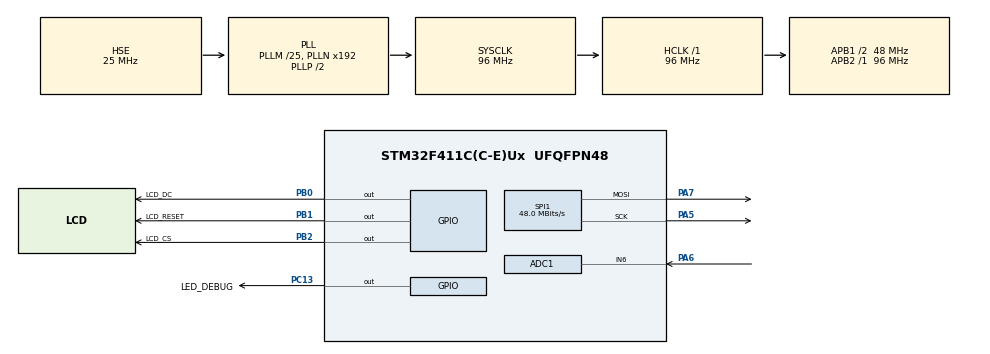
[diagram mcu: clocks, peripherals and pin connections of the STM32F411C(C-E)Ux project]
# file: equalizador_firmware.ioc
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ADC1.Channel-1\#ChannelRegularConversion=ADC_CHANNEL_6
ADC1.DMAContinuousRequests=ENABLE
ADC1.ExternalTrigConv=ADC_EXTERNALTRIGCONV_T2_TRGO
ADC1.NbrOfConversion=1
ADC1.NbrOfConversionFlag=1
ADC1.Rank-1\#ChannelRegularConversion=1
ADC1.SamplingTime-1\#ChannelRegularConversion=ADC_SAMPLETIME_3CYCLES
ADC1.master=1
Dma.ADC1.0.Direction=DMA_PERIPH_TO_MEMORY
Dma.ADC1.0.FIFOMode=DMA_FIFOMODE_DISABLE
Dma.ADC1.0.Instance=DMA2_Stream0
Dma.ADC1.0.MemDataAlignment=DMA_MDATAALIGN_HALFWORD
Dma.ADC1.0.MemInc=DMA_MINC_ENABLE
Dma.ADC1.0.Mode=DMA_NORMAL
Dma.ADC1.0.PeriphDataAlignment=DMA_PDATAALIGN_HALFWORD
Dma.ADC1.0.PeriphInc=DMA_PINC_DISABLE
Dma.ADC1.0.Priority=DMA_PRIORITY_LOW
Dma.Request0=ADC1
FREERTOS.Tasks01=defaultTask,0,128,StartDefaultTask,Default,NULL,Dynamic,NULL,NULL
FREERTOS.configENABLE_FPU=1
FREERTOS.configUSE_NEWLIB_REENTRANT=1
Mcu.Family=STM32F4
Mcu.Name=STM32F411C(C-E)Ux
Mcu.Package=UFQFPN48
NVIC.DMA2_Stream0_IRQn=true\:5\:0\:false\:false\:true\:true\:false\:true\:true
NVIC.PriorityGroup=NVIC_PRIORITYGROUP_4
NVIC.TIM1_BRK_TIM9_IRQn=true\:15\:0\:false\:false\:true\:false\:false\:true\:true
NVIC.TimeBase=TIM1_BRK_TIM9_IRQn
NVIC.TimeBaseIP=TIM9
PA5.Mode=TX_Only_Simplex_Unidirect_Master
PA5.Signal=SPI1_SCK
PA6.Signal=ADCx_IN6
PA7.Mode=TX_Only_Simplex_Unidirect_Master
PA7.Signal=SPI1_MOSI
PB0.GPIO_Label=LCD_DC
PB0.Signal=GPIO_Output
PB1.GPIO_Label=LCD_RESET
PB1.Signal=GPIO_Output
PB2.GPIO_Label=LCD_CS
PB2.Signal=GPIO_Output
PC13-ANTI_TAMP.GPIO_Label=LED_DEBUG
PC13-ANTI_TAMP.Signal=GPIO_Output
PH0\ -\ OSC_IN.Mode=HSE-External-Oscillator
PH0\ -\ OSC_IN.Signal=RCC_OSC_IN
PH1\ -\ OSC_OUT.Mode=HSE-External-Oscillator
PH1\ -\ OSC_OUT.Signal=RCC_OSC_OUT
ProjectManager.HeapSize=0x200
ProjectManager.StackSize=0x400
ProjectManager.TargetToolchain=STM32CubeIDE
RCC.48MHZClocksFreq_Value=48000000
RCC.AHBFreq_Value=96000000
RCC.APB1CLKDivider=RCC_HCLK_DIV2
RCC.APB1Freq_Value=48000000
RCC.APB1TimFreq_Value=96000000
RCC.APB2Freq_Value=96000000
RCC.APB2TimFreq_Value=96000000
RCC.CortexFreq_Value=96000000
RCC.HCLKFreq_Value=96000000
RCC.HSE_VALUE=25000000
RCC.HSI_VALUE=16000000
RCC.LSE_VALUE=32768
RCC.PLLM=25
RCC.PLLSourceVirtual=RCC_PLLSOURCE_HSE
RCC.SYSCLKFreq_VALUE=96000000
RCC.SYSCLKSource=RCC_SYSCLKSOURCE_PLLCLK
RCC.VCOOutputFreq_Value=192000000
SH.ADCx_IN6.0=ADC1_IN6,IN6
SPI1.CalculateBaudRate=48.0 MBits/s
SPI1.Direction=SPI_DIRECTION_2LINES
SPI1.Mode=SPI_MODE_MASTER
SPI1.VirtualType=VM_MASTER
STMicroelectronics.X-CUBE-ALGOBUILD.1.5.0.LibraryCcDSPOoLibraryJjDSPOoLibrary=true
TIM2.Period=1999
TIM2.TIM_MasterOutputTrigger=TIM_TRGO_UPDATE
VP_FREERTOS_VS_CMSIS_V1.Mode=CMSIS_V1
VP_STMicroelectronics.X-CUBE-ALGOBUILD_VS_DSPOoLibraryJjLibrary_1.5.0_1.5.0.Mode=DSPOoLibraryJjLibrary
VP_SYS_VS_tim9.Mode=TIM9
VP_TIM2_VS_ClockSourceINT.Mode=Internal
board=custom

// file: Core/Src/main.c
/* USER CODE BEGIN Header */
/**
  ******************************************************************************
  * @file           : main.c
  * @brief          : Main program body
  ******************************************************************************
  * @attention
  *
  * Copyright (c) 2026 STMicroelectronics.
  * All rights reserved.
  *
  * This software is licensed under terms that can be found in the LICENSE file
  * in the root directory of this software component.
  * If no LICENSE file comes with this software, it is provided AS-IS.
  *
  ******************************************************************************
  */
/* USER CODE END Header */
#include "main.h"
#include "cmsis_os.h"

/* USER CODE BEGIN Includes */
#include "display.h"
#include "fft.h"
/* USER CODE END Includes */

/* USER CODE BEGIN PD */
#define ADC_BUFFER_SIZE 1024
/* USER CODE END PD */

ADC_HandleTypeDef hadc1;
DMA_HandleTypeDef hdma_adc1;

SPI_HandleTypeDef hspi1;

TIM_HandleTypeDef htim2;

osThreadId defaultTaskHandle;
/* USER CODE BEGIN PV */

uint16_t adc_buffer[ADC_BUFFER_SIZE];

volatile uint8_t adc_ready = 0;
volatile uint8_t fft_data_ready = 0;

/* USER CODE END PV */

void SystemClock_Config(void);
static void MX_GPIO_Init(void);
static void MX_DMA_Init(void);
static void MX_SPI1_Init(void);
static void MX_ADC1_Init(void);
static void MX_TIM2_Init(void);
void StartDefaultTask(void const * argument);

/* USER CODE BEGIN 0 */

void fftTask(void *pvParameter)
{
    FFT_Init();

    HAL_ADC_Start_DMA(&hadc1, (uint32_t *)adc_buffer, ADC_BUFFER_SIZE);
    HAL_TIM_Base_Start(&htim2);

    while (1)
    {
        if (adc_ready)
        {
            adc_ready = 0;

            HAL_TIM_Base_Stop(&htim2);
            HAL_ADC_Stop_DMA(&hadc1);

            FFT_Process(adc_buffer);

            fft_data_ready = 1;
        }

        osDelay(1);
    }
}

void displayTask(void *pvParameter)
{
    Display_Init();

    while (1)
    {
        if (fft_data_ready)
        {
            fft_data_ready = 0;

            Display_Update();

            HAL_ADC_Start_DMA(&hadc1, (uint32_t *)adc_buffer, ADC_BUFFER_SIZE);
            HAL_TIM_Base_Start(&htim2);
        }

        osDelay(1);
    }
}
/* USER CODE END 0 */

int main(void)
{

  /* MCU Configuration--------------------------------------------------------*/

  /* Reset of all peripherals, Initializes the Flash interface and the Systick. */
  HAL_Init();

  /* Configure the system clock */
  SystemClock_Config();

  /* Initialize all configured peripherals */
  MX_GPIO_Init();
  MX_DMA_Init();
  MX_SPI1_Init();
  MX_ADC1_Init();
  MX_TIM2_Init();
  /* USER CODE BEGIN 2 */
  xTaskCreate(fftTask, "fft", 256, NULL, 2, NULL);
  xTaskCreate(displayTask, "display", 256, NULL, 1, NULL);
  /* USER CODE END 2 */

  /* Create the thread(s) */
  /* definition and creation of defaultTask */
  osThreadDef(defaultTask, StartDefaultTask, osPriorityNormal, 0, 128);
  defaultTaskHandle = osThreadCreate(osThread(defaultTask), NULL);

  /* Start scheduler */
  osKernelStart();

  /* We should never get here as control is now taken by the scheduler */

  /* Infinite loop */
  while (1)
  {

  }
}

void SystemClock_Config(void)
{
  RCC_OscInitTypeDef RCC_OscInitStruct = {0};
  RCC_ClkInitTypeDef RCC_ClkInitStruct = {0};

  /** Configure the main internal regulator output voltage
  */
  __HAL_RCC_PWR_CLK_ENABLE();
  __HAL_PWR_VOLTAGESCALING_CONFIG(PWR_REGULATOR_VOLTAGE_SCALE1);

  /** Initializes the RCC Oscillators according to the specified parameters
  * in the RCC_OscInitTypeDef structure.
  */
  RCC_OscInitStruct.OscillatorType = RCC_OSCILLATORTYPE_HSE;
  RCC_OscInitStruct.HSEState = RCC_HSE_ON;
  RCC_OscInitStruct.PLL.PLLState = RCC_PLL_ON;
  RCC_OscInitStruct.PLL.PLLSource = RCC_PLLSOURCE_HSE;
  RCC_OscInitStruct.PLL.PLLM = 25;
  RCC_OscInitStruct.PLL.PLLN = 192;
  RCC_OscInitStruct.PLL.PLLP = RCC_PLLP_DIV2;
  RCC_OscInitStruct.PLL.PLLQ = 4;
  if (HAL_RCC_OscConfig(&RCC_OscInitStruct) != HAL_OK)
  {
    Error_Handler();
  }

  /** Initializes the CPU, AHB and APB buses clocks
  */
  RCC_ClkInitStruct.ClockType = RCC_CLOCKTYPE_HCLK|RCC_CLOCKTYPE_SYSCLK
                              |RCC_CLOCKTYPE_PCLK1|RCC_CLOCKTYPE_PCLK2;
  RCC_ClkInitStruct.SYSCLKSource = RCC_SYSCLKSOURCE_PLLCLK;
  RCC_ClkInitStruct.AHBCLKDivider = RCC_SYSCLK_DIV1;
  RCC_ClkInitStruct.APB1CLKDivider = RCC_HCLK_DIV2;
  RCC_ClkInitStruct.APB2CLKDivider = RCC_HCLK_DIV1;

  if (HAL_RCC_ClockConfig(&RCC_ClkInitStruct, FLASH_LATENCY_3) != HAL_OK)
  {
    Error_Handler();
  }
}

static void MX_ADC1_Init(void)
{

  ADC_ChannelConfTypeDef sConfig = {0};

  /** Configure the global features of the ADC (Clock, Resolution, Data Alignment and number of conversion)
  */
  hadc1.Instance = ADC1;
  hadc1.Init.ClockPrescaler = ADC_CLOCK_SYNC_PCLK_DIV4;
  hadc1.Init.Resolution = ADC_RESOLUTION_12B;
  hadc1.Init.ScanConvMode = DISABLE;
  hadc1.Init.ContinuousConvMode = DISABLE;
  hadc1.Init.DiscontinuousConvMode = DISABLE;
  hadc1.Init.ExternalTrigConvEdge = ADC_EXTERNALTRIGCONVEDGE_RISING;
  hadc1.Init.ExternalTrigConv = ADC_EXTERNALTRIGCONV_T2_TRGO;
  hadc1.Init.DataAlign = ADC_DATAALIGN_RIGHT;
  hadc1.Init.NbrOfConversion = 1;
  hadc1.Init.DMAContinuousRequests = ENABLE;
  hadc1.Init.EOCSelection = ADC_EOC_SINGLE_CONV;
  if (HAL_ADC_Init(&hadc1) != HAL_OK)
  {
    Error_Handler();
  }

  /** Configure for the selected ADC regular channel its corresponding rank in the sequencer and its sample time.
  */
  sConfig.Channel = ADC_CHANNEL_6;
  sConfig.Rank = 1;
  sConfig.SamplingTime = ADC_SAMPLETIME_3CYCLES;
  if (HAL_ADC_ConfigChannel(&hadc1, &sConfig) != HAL_OK)
  {
    Error_Handler();
  }

}

static void MX_SPI1_Init(void)
{

  /* SPI1 parameter configuration*/
  hspi1.Instance = SPI1;
  hspi1.Init.Mode = SPI_MODE_MASTER;
  hspi1.Init.Direction = SPI_DIRECTION_2LINES;
  hspi1.Init.DataSize = SPI_DATASIZE_8BIT;
  hspi1.Init.CLKPolarity = SPI_POLARITY_LOW;
  hspi1.Init.CLKPhase = SPI_PHASE_1EDGE;
  hspi1.Init.NSS = SPI_NSS_SOFT;
  hspi1.Init.BaudRatePrescaler = SPI_BAUDRATEPRESCALER_2;
  hspi1.Init.FirstBit = SPI_FIRSTBIT_MSB;
  hspi1.Init.TIMode = SPI_TIMODE_DISABLE;
  hspi1.Init.CRCCalculation = SPI_CRCCALCULATION_DISABLE;
  hspi1.Init.CRCPolynomial = 10;
  if (HAL_SPI_Init(&hspi1) != HAL_OK)
  {
    Error_Handler();
  }

}

static void MX_TIM2_Init(void)
{

  TIM_ClockConfigTypeDef sClockSourceConfig = {0};
  TIM_MasterConfigTypeDef sMasterConfig = {0};

  htim2.Instance = TIM2;
  htim2.Init.Prescaler = 0;
  htim2.Init.CounterMode = TIM_COUNTERMODE_UP;
  htim2.Init.Period = 1999;
  htim2.Init.ClockDivision = TIM_CLOCKDIVISION_DIV1;
  htim2.Init.AutoReloadPreload = TIM_AUTORELOAD_PRELOAD_DISABLE;
  if (HAL_TIM_Base_Init(&htim2) != HAL_OK)
  {
    Error_Handler();
  }
  sClockSourceConfig.ClockSource = TIM_CLOCKSOURCE_INTERNAL;
  if (HAL_TIM_ConfigClockSource(&htim2, &sClockSourceConfig) != HAL_OK)
  {
    Error_Handler();
  }
  sMasterConfig.MasterOutputTrigger = TIM_TRGO_UPDATE;
  sMasterConfig.MasterSlaveMode = TIM_MASTERSLAVEMODE_DISABLE;
  if (HAL_TIMEx_MasterConfigSynchronization(&htim2, &sMasterConfig) != HAL_OK)
  {
    Error_Handler();
  }

}

static void MX_DMA_Init(void)
{

  /* DMA controller clock enable */
  __HAL_RCC_DMA2_CLK_ENABLE();

  /* DMA interrupt init */
  /* DMA2_Stream0_IRQn interrupt configuration */
  HAL_NVIC_SetPriority(DMA2_Stream0_IRQn, 5, 0);
  HAL_NVIC_EnableIRQ(DMA2_Stream0_IRQn);

}

static void MX_GPIO_Init(void)
{
  GPIO_InitTypeDef GPIO_InitStruct = {0};

  /* GPIO Ports Clock Enable */
  __HAL_RCC_GPIOC_CLK_ENABLE();
  __HAL_RCC_GPIOH_CLK_ENABLE();
  __HAL_RCC_GPIOA_CLK_ENABLE();
  __HAL_RCC_GPIOB_CLK_ENABLE();

  /*Configure GPIO pin Output Level */
  HAL_GPIO_WritePin(LED_DEBUG_GPIO_Port, LED_DEBUG_Pin, GPIO_PIN_RESET);

  /*Configure GPIO pin Output Level */
  HAL_GPIO_WritePin(GPIOB, LCD_DC_Pin|LCD_RESET_Pin|LCD_CS_Pin, GPIO_PIN_RESET);

  /*Configure GPIO pin : LED_DEBUG_Pin */
  GPIO_InitStruct.Pin = LED_DEBUG_Pin;
  GPIO_InitStruct.Mode = GPIO_MODE_OUTPUT_PP;
  GPIO_InitStruct.Pull = GPIO_NOPULL;
  GPIO_InitStruct.Speed = GPIO_SPEED_FREQ_LOW;
  HAL_GPIO_Init(LED_DEBUG_GPIO_Port, &GPIO_InitStruct);

  /*Configure GPIO pins : LCD_DC_Pin LCD_RESET_Pin LCD_CS_Pin */
  GPIO_InitStruct.Pin = LCD_DC_Pin|LCD_RESET_Pin|LCD_CS_Pin;
  GPIO_InitStruct.Mode = GPIO_MODE_OUTPUT_PP;
  GPIO_InitStruct.Pull = GPIO_NOPULL;
  GPIO_InitStruct.Speed = GPIO_SPEED_FREQ_LOW;
  HAL_GPIO_Init(GPIOB, &GPIO_InitStruct);

}

/* USER CODE BEGIN 4 */
void HAL_ADC_ConvCpltCallback(ADC_HandleTypeDef* hadc)
{
	if (hadc->Instance == ADC1)
    {
        adc_ready = 1;
    }

}
/* USER CODE END 4 */

void StartDefaultTask(void const * argument)
{
  for(;;)
  {
    osDelay(1);
  }
}

void HAL_TIM_PeriodElapsedCallback(TIM_HandleTypeDef *htim)
{
  if (htim->Instance == TIM9)
  {
    HAL_IncTick();
  }
}

void Error_Handler(void)
{
  __disable_irq();
  while (1)
  {
  }
}
